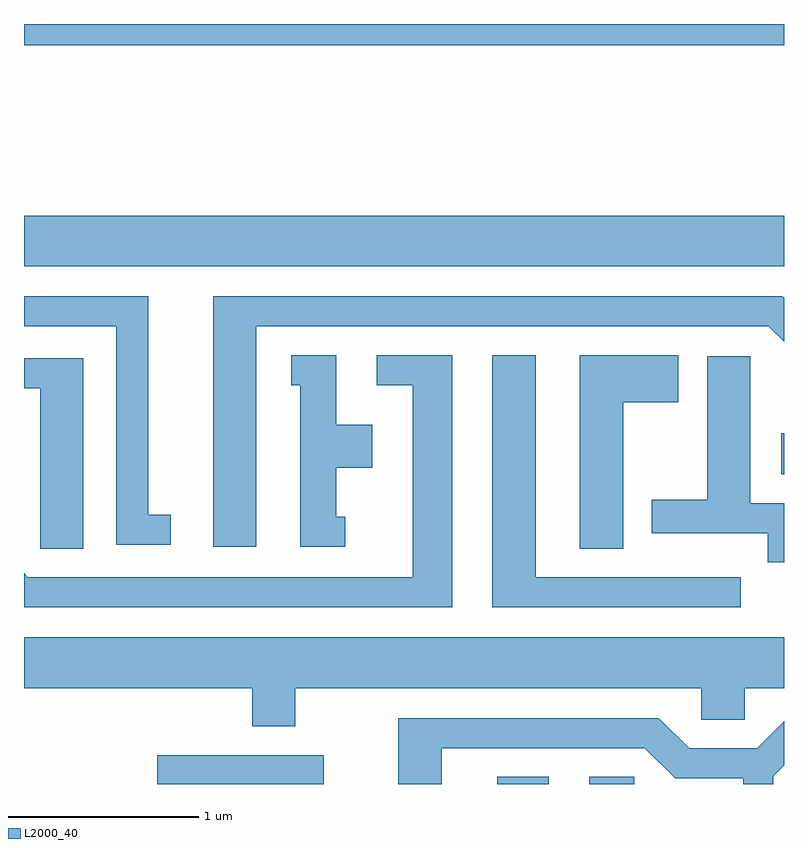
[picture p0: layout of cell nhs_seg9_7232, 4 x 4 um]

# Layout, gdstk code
import gdstk
lib = gdstk.Library(unit=1e-6, precision=1e-09)
def R(c, l, rs):  # rectangles x0, y0, x1, y1
    for r in rs: c.add(gdstk.rectangle(r[:2], r[2:], *l))
def P(c, l, *ps):  # polygons
    for p in ps: c.add(gdstk.Polygon(p, *l))
L2000_40 = (2000, 40)

nhs_seg9_7232 = lib.new_cell('nhs_seg9_7232')
R(nhs_seg9_7232, L2000_40, [(400.313,1982.432,401.189,1982.584), (402.101,1982.432,402.373,1982.469), (402.586,1982.432,402.823,1982.469), (403.596,1984.061,403.611,1984.279), (399.611,1985.156,403.611,1985.424), (399.611,1986.321,403.611,1986.432)])
P(nhs_seg9_7232, L2000_40, [(400.834,1984.841),(403.529,1984.841),(403.611,1984.759),(403.611,1984.99),(403.602,1984.999),(400.606,1984.999),(400.606,1983.681),(400.834,1983.681)],
  [(400.383,1983.849),(400.264,1983.849),(400.264,1984.999),(399.611,1984.999),(399.611,1984.841),(400.096,1984.841),(400.096,1983.691),(400.383,1983.691)],
  [(403.383,1983.519),(402.304,1983.519),(402.304,1984.689),(402.076,1984.689),(402.076,1983.361),(403.383,1983.361)],
  [(401.864,1984.689),(401.468,1984.689),(401.468,1984.531),(401.656,1984.531),(401.656,1983.519),(399.632,1983.519),(399.611,1983.54),(399.611,1983.361),(401.864,1983.361)],
  [(401.303,1983.839),(401.254,1983.839),(401.254,1984.096),(401.444,1984.096),(401.444,1984.324),(401.254,1984.324),(401.254,1984.689),(401.018,1984.689),(401.018,1984.531),(401.066,1984.531),(401.066,1983.681),(401.303,1983.681)],
  [(402.764,1984.441),(403.054,1984.441),(403.054,1984.689),(402.536,1984.689),(402.536,1983.671),(402.764,1983.671)],
  [(403.611,1983.909),(403.434,1983.909),(403.434,1984.684),(403.206,1984.684),(403.206,1983.929),(402.916,1983.929),(402.916,1983.751),(403.526,1983.751),(403.526,1983.598),(403.611,1983.598)],
  [(399.924,1984.674),(399.611,1984.674),(399.611,1984.516),(399.696,1984.516),(399.696,1983.671),(399.924,1983.671)],
  [(401.039,1982.936),(403.176,1982.936),(403.176,1982.771),(403.404,1982.771),(403.404,1982.936),(403.611,1982.936),(403.611,1983.204),(399.611,1983.204),(399.611,1982.936),(400.811,1982.936),(400.811,1982.736),(401.039,1982.736)],
  [(401.809,1982.621),(402.879,1982.621),(403.039,1982.461),(403.396,1982.461),(403.396,1982.432),(403.554,1982.432),(403.554,1982.474),(403.611,1982.531),(403.611,1982.761),(403.469,1982.619),(403.112,1982.619),(402.952,1982.779),(401.581,1982.779),(401.581,1982.432),(401.809,1982.432)])

lib.write_gds('nhs_seg9_7232.gds')
